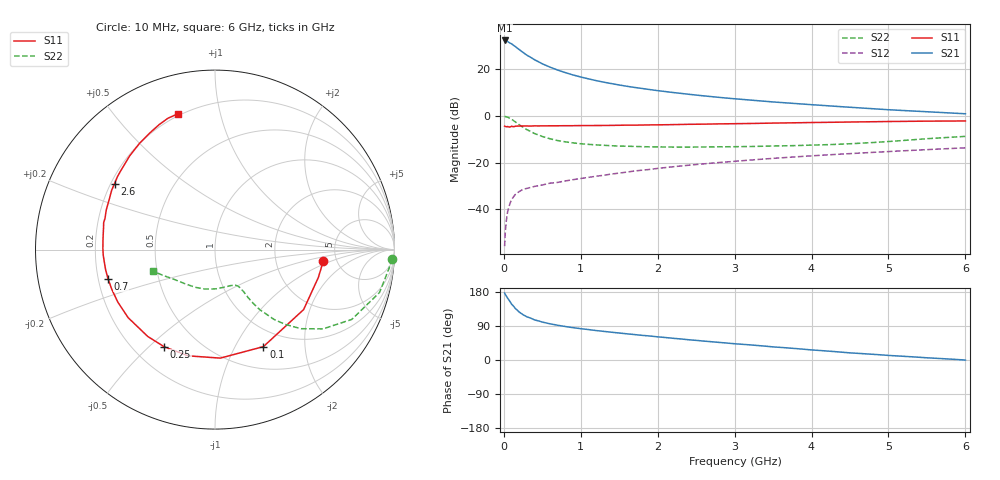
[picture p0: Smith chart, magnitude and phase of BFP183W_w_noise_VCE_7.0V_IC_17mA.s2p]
! Infineon Technologies  Discrete & RF Semiconductors
! BFP183W
! VCE =  7.0 V,  IC =  17 mA
! Common Emitter S-Parameters:  Jan 2017
# GHz  S  MA  R  50
!  f  S11  S21  S12  S22
! GHz  MAG  ANG  MAG  ANG  MAG  ANG  MAG  ANG
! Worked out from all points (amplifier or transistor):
!   77 points, 10 MHz to 6 GHz, reference 50 ohm
!   highest |S21| = 32.5 dB at 10 MHz (marker M1)
!   |S21| within 3 dB of that: start of sweep to 164 MHz
!   unconditionally stable (mu >= 1): 1.283 GHz to 3.652 GHz
!   at 130 MHz: K = 0.20, MSG = 32.4 dB, |S12| = -34.5 dB
!   at 2.2 GHz: K = 1.06, MAG = 14.5 dB, |S12| = -21.8 dB
!   at 6 GHz: K = 0.86, MSG = 7.3 dB, |S12| = -13.7 dB
!   lowest NFmin = 1.12 dB at 450 MHz
!   S11 on the Smith chart (normalised r, x): 10 MHz: 3.90, -0.81; 100 MHz: 0.77, -1.31; 250 MHz: 0.32, -0.56; 700 MHz: 0.24, -0.13; 2.6 GHz: 0.21, +0.29; 6 GHz: 0.19, +0.75
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0.01  0.6064 -6.2  42.05 176.8  0.0016 81.6  0.9856 -2.9
0.02  0.5964 -15.1  41.68 172.6  0.0034 90.8  0.9761 -6.0
0.05  0.5962 -34.1  39.82 162.8  0.0089 77.4  0.9473 -14.6
0.1  0.6041 -63.5  35.69 147.7  0.016 66.9  0.8553 -27.1
0.15  0.6053 -87.2  31.04 135.9  0.0207 56.8  0.7459 -36.3
0.2  0.6105 -104.2  26.75 126.6  0.0239 51.3  0.6512 -42.6
0.25  0.6109 -117.6  23.22 119.4  0.0266 47.5  0.572 -46.8
0.3  0.6121 -127.7  20.3 114.0  0.0279 44.9  0.509 -49.8
0.4  0.6148 -141.9  16.15 105.8  0.0308 44.4  0.4204 -53.2
0.5  0.6154 -151.7  13.25 100.1  0.033 44.2  0.3637 -54.7
0.6  0.6162 -158.9  11.24 95.5  0.0361 44.9  0.325 -55.4
0.7  0.6177 -164.8  9.709 91.7  0.0375 46.2  0.2971 -55.6
0.9  0.6207 -173.8  7.622 85.3  0.0429 49.1  0.2648 -56.4
1.1  0.6246 179.6  6.29 80.3  0.0481 51.2  0.2464 -57.3
1.3  0.6273 173.7  5.334 75.5  0.0534 52.6  0.235 -58.8
1.5  0.6331 168.8  4.642 71.2  0.0594 54.3  0.2262 -61.1
2.1  0.6502 155.8  3.356 59.3  0.0781 56.0  0.2163 -71.5
2.6  0.6695 146.7  2.71 49.9  0.0939 55.4  0.2162 -83.1
3.1  0.6878 138.5  2.276 41.4  0.1097 54.1  0.2204 -95.5
4.1  0.7289 124.2  1.71 25.2  0.1428 49.8  0.2396 -120.9
5.1  0.7653 113.2  1.339 10.9  0.1759 44.5  0.291 -146.6
6  0.7841 105.3  1.119 -0.1  0.2074 38.9  0.3659 -160.8
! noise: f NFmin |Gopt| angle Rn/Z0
0.45  1.12  0.17  164  -0.02
0.9  1.15  0.23  169  0.09
1.9  1.61  0.4  -165  0.08
2.4  1.84  0.44  -159  0.11
